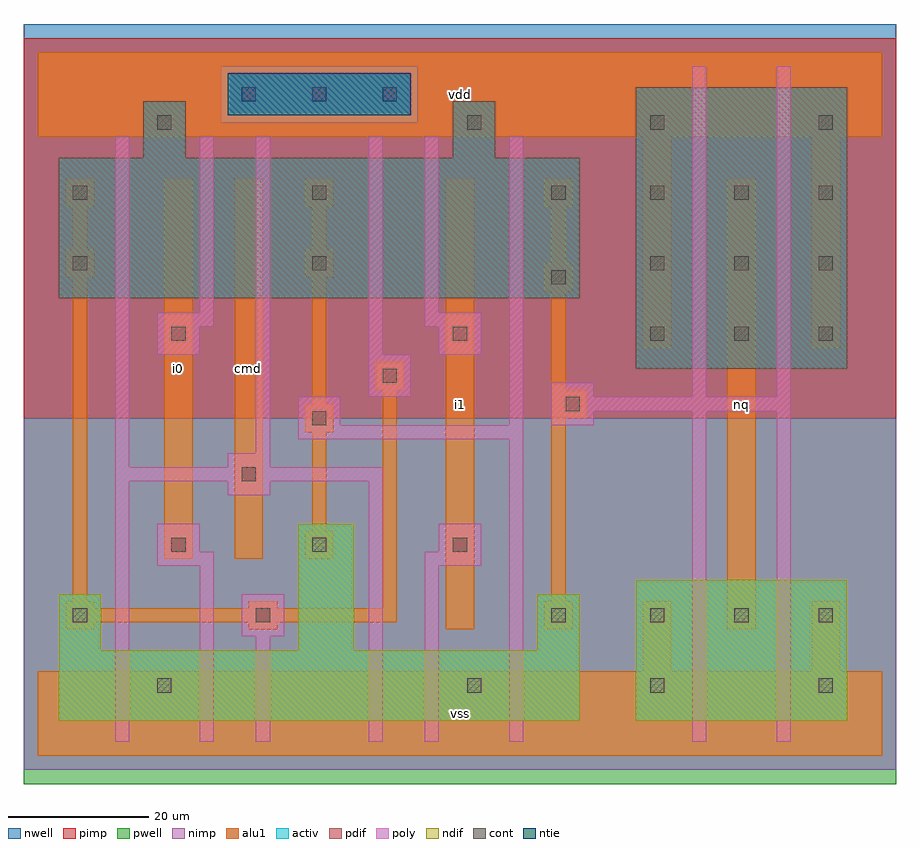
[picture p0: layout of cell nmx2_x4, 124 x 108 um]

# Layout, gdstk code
import gdstk
lib = gdstk.Library(unit=1e-6, precision=1e-09)
def R(c, l, rs):  # rectangles x0, y0, x1, y1
    for r in rs: c.add(gdstk.rectangle(r[:2], r[2:], *l))
def A(c, l, x, y, w, h, nx, ny, dx, dy):  # array of equal rectangles
    R(c, l, [(x+i*dx, y+j*dy, x+i*dx+w, y+j*dy+h) for i in range(nx) for j in range(ny)])
ndif = (3, 0)
pdif = (4, 0)
ntie = (5, 0)
cont = (25, 0)
pwell = (41, 0)
nwell = (42, 0)
activ = (43, 0)
pimp = (44, 0)
nimp = (45, 0)
poly = (46, 0)
alu1 = (49, 0)

nmx2_x4 = lib.new_cell('nmx2_x4')
R(nmx2_x4, ndif, [(3,5,77,15), (85,5,115,25), (3,15,9,23), (37,15,45,33), (71,15,77,23)])
R(nmx2_x4, pdif, [(85,55,115,95), (3,65,77,85), (15,85,21,93), (59,85,65,93)])
R(nmx2_x4, ntie, [(27,91,53,97)])
A(nmx2_x4, cont, 87, 19, 2, 2, 3, 2, 12, 40)
A(nmx2_x4, cont, 19, 29, 2, 2, 3, 1, 20, 0)
A(nmx2_x4, cont, 87, 69, 2, 2, 3, 2, 12, 10)
A(nmx2_x4, cont, 5, 79, 2, 2, 3, 1, 34, 0)
A(nmx2_x4, cont, 29, 93, 2, 2, 3, 1, 10, 0)
R(nmx2_x4, cont, [(17,9,19,11), (61,9,63,11), (87,9,89,11), (111,9,113,11), (5,19,7,21), (31,19,33,21), (73,19,75,21), (29,39,31,41), (39,47,41,49), (75,49,77,51), (49,53,51,55), (19,59,21,61), (59,59,61,61), (73,67,75,69), (5,69,7,71), (39,69,41,71), (17,89,19,91), (61,89,63,91), (87,89,89,91), (111,89,113,91)])
R(nmx2_x4, pwell, [(-2,-4,122,48)])
R(nmx2_x4, nwell, [(-2,48,122,104)])
R(nmx2_x4, activ, [(3,5,77,15), (85,5,115,25), (3,15,9,23), (37,15,45,33), (71,15,77,23), (85,55,115,95), (3,65,77,85), (15,85,21,93), (59,85,65,93), (27,91,53,97)])
R(nmx2_x4, pimp, [(-2,48,122,90), (-2,90,26,98), (54,90,122,98), (-2,98,122,102)])
R(nmx2_x4, nimp, [(-2,-2,122,48), (26,90,54,98)])
R(nmx2_x4, poly, [(11,2,13,39), (23,2,25,27), (31,2,33,17), (47,2,49,39), (55,2,57,27), (67,2,69,45), (93,2,95,49), (105,2,107,49), (29,17,35,23), (17,27,25,29), (55,27,63,29), (17,29,23,33), (57,29,63,33), (27,37,33,39), (11,39,49,41), (11,41,13,88), (27,41,33,43), (31,43,33,88), (37,45,69,47), (37,47,43,51), (67,47,69,88), (73,47,79,49), (73,49,107,51), (47,51,53,57), (73,51,79,53), (93,51,95,98), (105,51,107,98), (17,57,23,61), (47,57,49,88), (57,57,63,61), (17,61,25,63), (55,61,63,63), (23,63,25,88), (55,63,57,88)])
A(nmx2_x4, alu1, 4, 78, 4, 4, 3, 1, 34, 0)
R(nmx2_x4, alu1, [(0,0,120,12), (86,12,90,22), (110,12,114,22), (4,18,8,19), (30,18,34,19), (58,18,62,82), (72,18,76,22), (98,18,102,82), (4,19,51,21), (4,21,8,22), (30,21,34,22), (49,21,51,52), (5,22,7,68), (73,22,75,48), (18,28,22,82), (28,28,32,82), (38,28,42,32), (39,32,41,46), (38,46,42,50), (73,48,78,52), (39,50,41,68), (48,52,52,56), (73,52,75,66), (86,58,90,88), (110,58,114,88), (72,66,76,70), (4,68,8,72), (38,68,42,72), (73,70,75,78), (5,72,7,78), (39,72,41,78), (0,88,120,100)])
nmx2_x4.add(gdstk.Label('i0', (20,55), layer=49, texttype=0))
nmx2_x4.add(gdstk.Label('cmd', (30,55), layer=49, texttype=0))
nmx2_x4.add(gdstk.Label('vss', (60,6), layer=49, texttype=0))
nmx2_x4.add(gdstk.Label('i1', (60,50), layer=49, texttype=0))
nmx2_x4.add(gdstk.Label('vdd', (60,94), layer=49, texttype=0))
nmx2_x4.add(gdstk.Label('nq', (100,50), layer=49, texttype=0))

lib.write_gds('nmx2_x4.gds')
